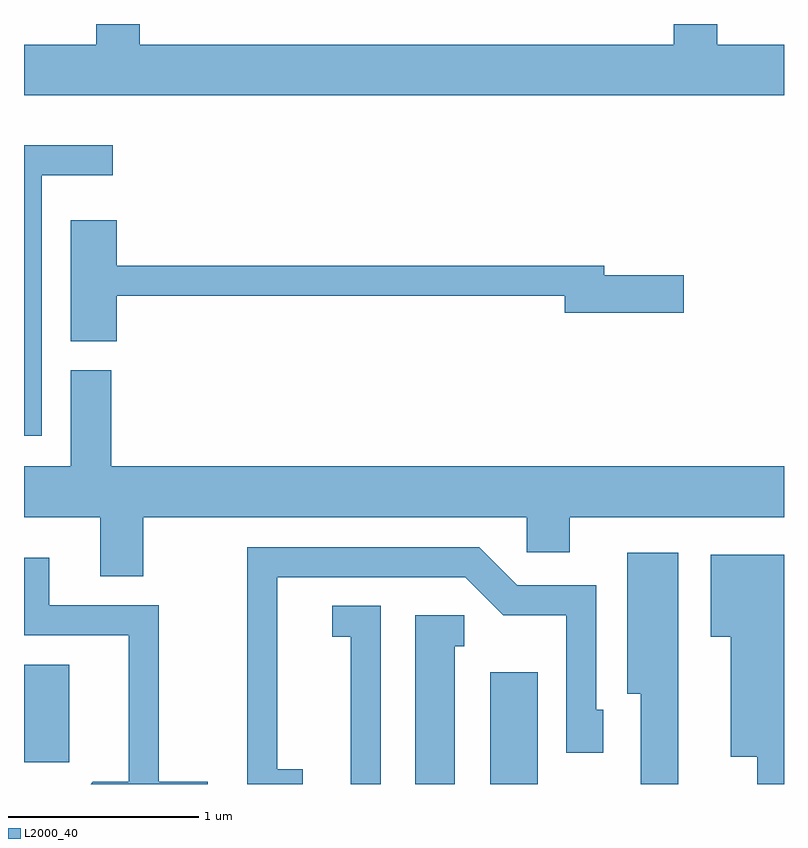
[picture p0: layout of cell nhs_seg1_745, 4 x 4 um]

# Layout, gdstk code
import gdstk
lib = gdstk.Library(unit=1e-6, precision=1e-09)
def R(c, l, rs):  # rectangles x0, y0, x1, y1
    for r in rs: c.add(gdstk.rectangle(r[:2], r[2:], *l))
def P(c, l, *ps):  # polygons
    for p in ps: c.add(gdstk.Polygon(p, *l))
L2000_40 = (2000, 40)

nhs_seg1_745 = lib.new_cell('nhs_seg1_745')
R(nhs_seg1_745, L2000_40, [(210.066,913.712,210.314,914.299), (207.611,913.826,207.849,914.339)])
P(nhs_seg1_745, L2000_40, [(211.611,917.604),(211.259,917.604),(211.259,917.712),(211.031,917.712),(211.031,917.604),(208.219,917.604),(208.219,917.712),(207.991,917.712),(207.991,917.604),(207.611,917.604),(207.611,917.336),(211.611,917.336)],
  [(207.704,916.916),(208.078,916.916),(208.078,917.074),(207.611,917.074),(207.611,915.546),(207.704,915.546)],
  [(208.099,916.281),(210.456,916.281),(210.456,916.191),(211.084,916.191),(211.084,916.389),(210.664,916.389),(210.664,916.439),(208.099,916.439),(208.099,916.679),(207.856,916.679),(207.856,916.041),(208.099,916.041)],
  [(208.239,915.116),(210.256,915.116),(210.256,914.931),(210.484,914.931),(210.484,915.116),(211.611,915.116),(211.611,915.384),(208.069,915.384),(208.069,915.889),(207.856,915.889),(207.856,915.384),(207.611,915.384),(207.611,915.116),(208.011,915.116),(208.011,914.806),(208.239,914.806)],
  [(209.078,913.789),(208.944,913.789),(208.944,914.801),(209.934,914.801),(210.134,914.601),(210.466,914.601),(210.466,913.876),(210.659,913.876),(210.659,914.104),(210.624,914.104),(210.624,914.759),(210.207,914.759),(210.007,914.959),(208.786,914.959),(208.786,913.712),(209.078,913.712)],
  [(211.054,914.929),(210.786,914.929),(210.786,914.186),(210.856,914.186),(210.856,913.712),(211.054,913.712)],
  [(211.611,914.919),(211.226,914.919),(211.226,914.486),(211.331,914.486),(211.331,913.856),(211.471,913.856),(211.471,913.712),(211.611,913.712)],
  [(208.579,913.724),(208.319,913.724),(208.319,914.654),(207.744,914.654),(207.744,914.903),(207.611,914.903),(207.611,914.496),(208.161,914.496),(208.161,913.724),(207.974,913.724),(207.962,913.712),(208.579,913.712)],
  [(209.489,914.649),(209.233,914.649),(209.233,914.486),(209.331,914.486),(209.331,913.712),(209.489,913.712)],
  [(209.879,914.436),(209.928,914.436),(209.928,914.599),(209.671,914.599),(209.671,913.712),(209.879,913.712)])

lib.write_gds('nhs_seg1_745.gds')
